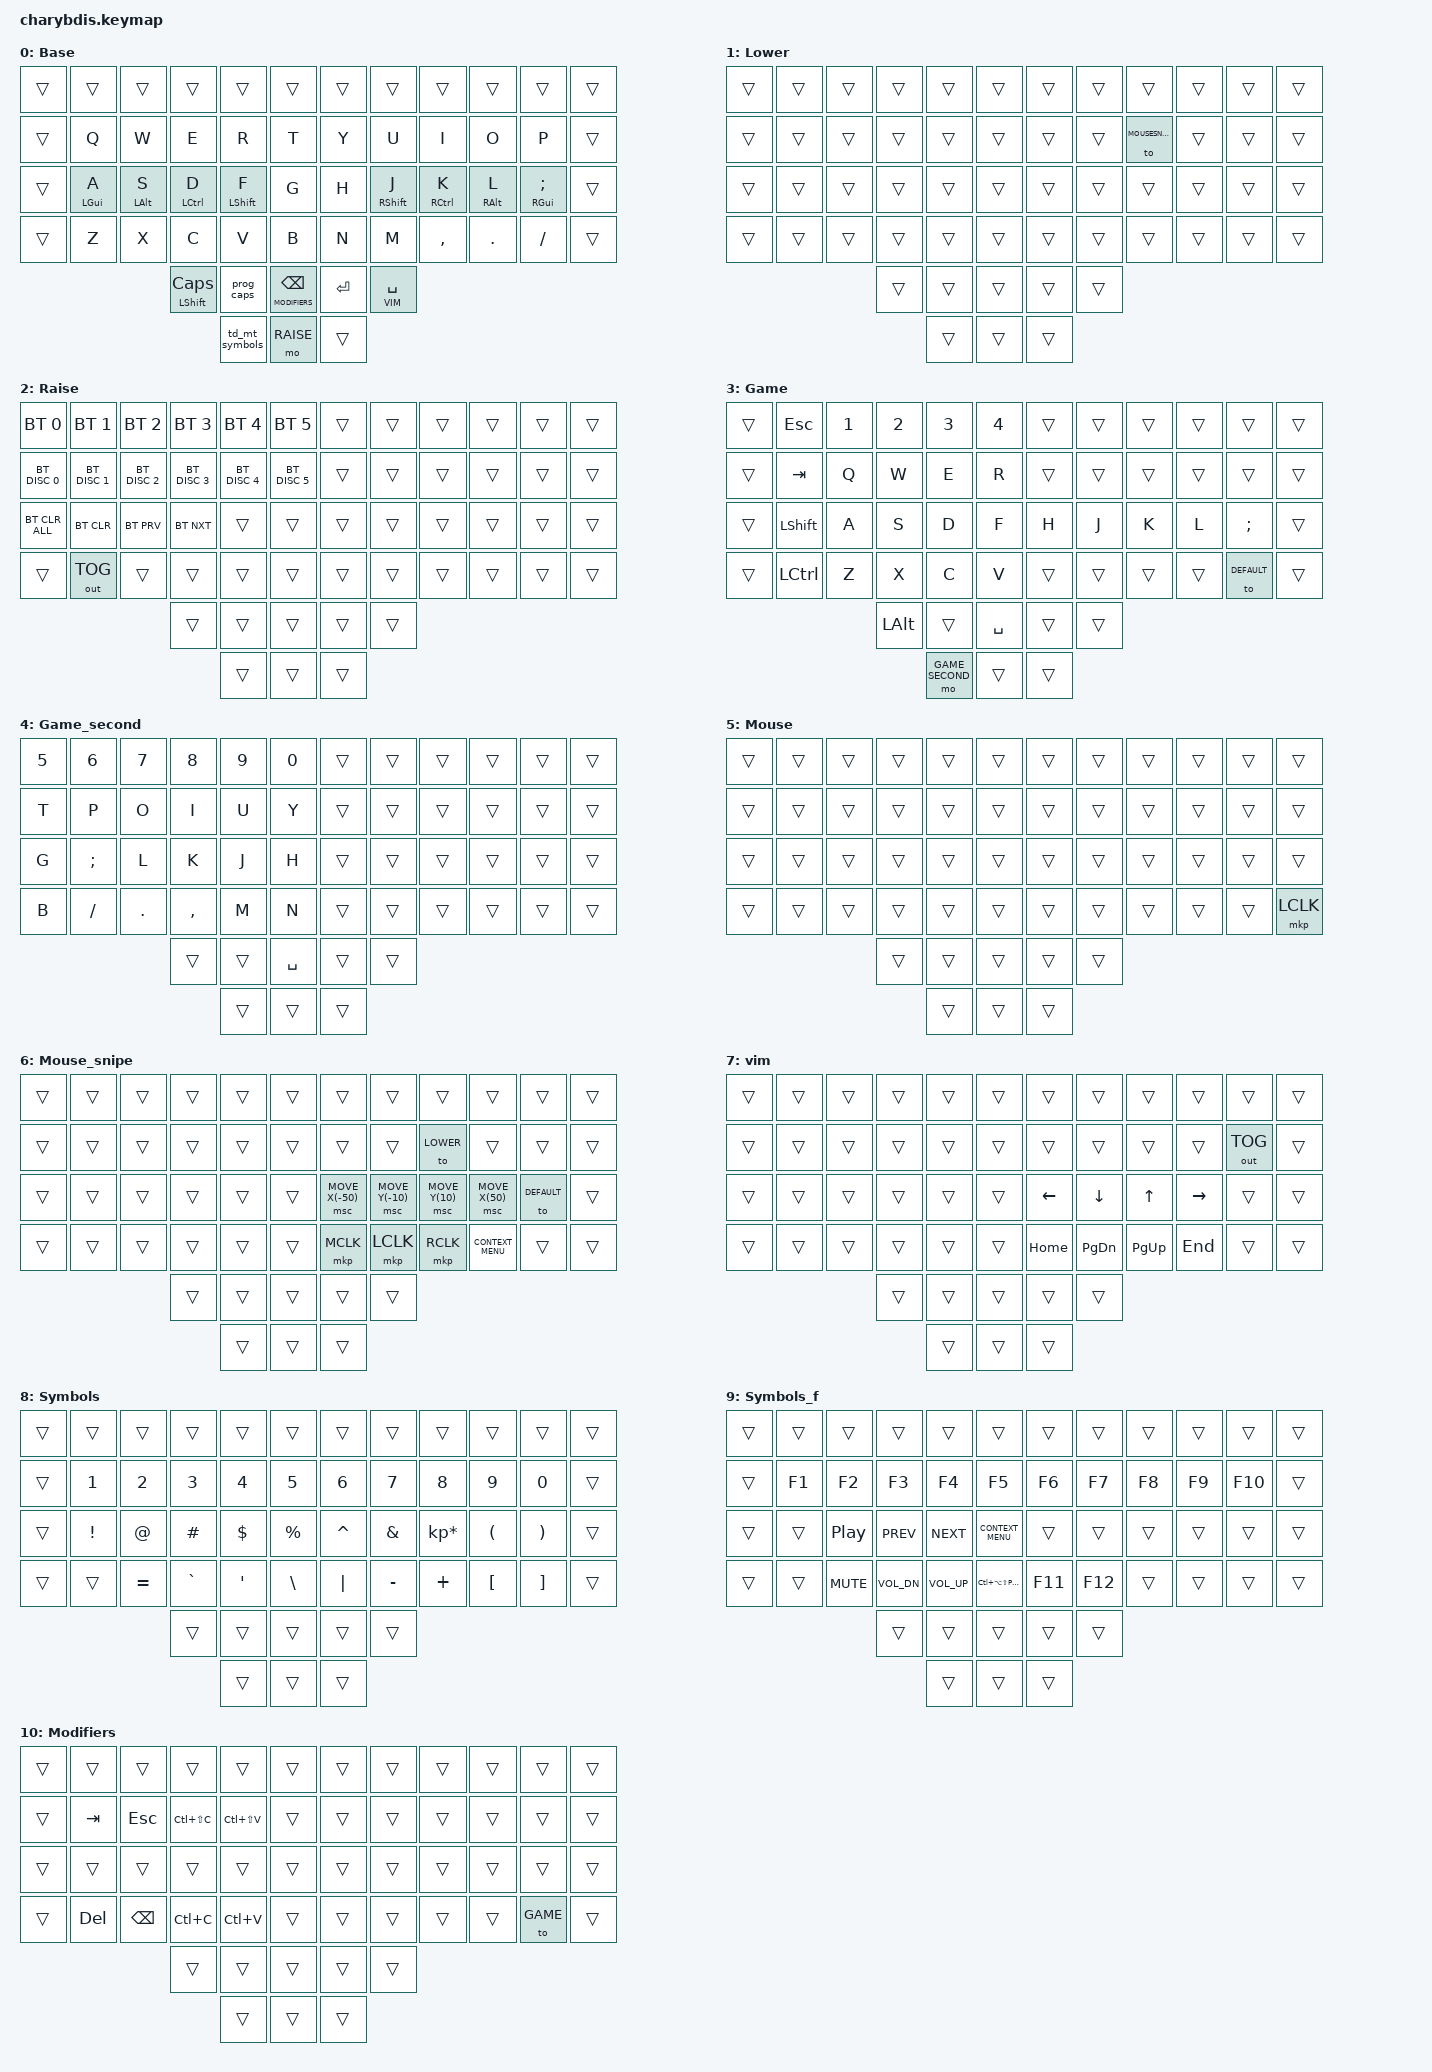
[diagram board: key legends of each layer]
#define DEFAULT 0
#define LOWER 1
#define RAISE 2
#define GAME 3
#define GAME_SECOND 4
#define MOUSE 5
#define MOUSESNIPE 6
#define VIM 7
#define SYMBOLS 8
#define SYMBOLS_F 9
#define MODIFIERS 10

#include <behaviors.dtsi>
#include <dt-bindings/zmk/keys.h>
#include <dt-bindings/zmk/bt.h>
#include <dt-bindings/zmk/ext_power.h>
#include <dt-bindings/zmk/mouse.h>
// #include <dt-bindings/zmk/pointing.h>
#include <dt-bindings/zmk/outputs.h>

/ {
    combos {
        compatible = "zmk,combos";

        ToMouseSnipeLayer {
            bindings = <&to MOUSESNIPE>;
            key-positions = <21 33>;
        };

        SwitchToRus {
            bindings = <&kp LC(LA(LS(E)))>;
            key-positions = <25 26>;
        };

        SwitchToEng {
            bindings = <&kp LC(LA(LS(R)))>;
            key-positions = <34 33>;
        };

        PrintScreenRight {
            bindings = <&kp PRINTSCREEN>;
            key-positions = <22 34>;
        };

        PrintScreenLeft {
            bindings = <&kp PRINTSCREEN>;
            key-positions = <13 25>;
        };

        bootloaderLeft {
            bindings = <&bootloader>;
            key-positions = <0 13>;
        };
        bootloaderRight {
            bindings = <&bootloader>;
            key-positions = <11 22>;
        };
        resetLeft {
            bindings = <&sys_reset>;
            key-positions = <0 12>;
        };
        resetRight {
            bindings = <&sys_reset>;
            key-positions = <11 23>;
        };
    };

    trackball_listener {
        compatible = "zmk,input-behavior-listener";
        device = <&vtrackball>;
        layers = <0 2 3 5 8>;
        evt-type = <INPUT_EV_REL>;
        x-input-code = <INPUT_REL_X>;
        y-input-code = <INPUT_REL_Y>;
        scale-multiplier = <1>;
        scale-divisor = <2>;
        bindings = <&ib_toggle_layer 5>;
    };

    trackball_snipe_listener {
        compatible = "zmk,input-behavior-listener";   
        device = <&vtrackball>;
        layers = <0 2 3 6 7 8>;
        evt-type = <INPUT_EV_REL>;
        x-input-code = <INPUT_REL_X>;
        y-input-code = <INPUT_REL_Y>;
        scale-multiplier = <1>;
        scale-divisor = <8>;
    };

    trackball_scroll_listener {
        compatible = "zmk,input-behavior-listener";
        device = <&vtrackball>;
        layers = <1>;
        evt-type = <INPUT_EV_REL>;            
        x-input-code = <INPUT_REL_MISC>;
        y-input-code = <INPUT_REL_WHEEL>;
        y-invert;
        scale-multiplier = <1>;
        scale-divisor = <6>;
        bindings = <&ib_wheel_scaler 1 16>;
    };

    ib_wheel_scaler: ib_wheel_scaler {
        compatible = "zmk,input-behavior-scaler";
        #binding-cells = <2>;
        evt-type = <INPUT_EV_REL>;
        input-code = <INPUT_REL_WHEEL>;
    };

    ib_toggle_layer: ib_toggle_layer {
        compatible = "zmk,input-behavior-tog-layer";
        #binding-cells = <1>;
        time-to-live-ms = <1500>;
    };

    behaviors {
        td: tap_dance {
            compatible = "zmk,behavior-tap-dance";
            #binding-cells = <0>;
            tapping-term-ms = <300>;
            bindings = <&kp>, <&kp>;
        };
        lt: layer_tap {
            compatible = "zmk,behavior-hold-tap";
            #binding-cells = <2>;
            flavor = "balanced";
            tapping-term-ms = <240>;
            quick-tap-ms = <150>;
            bindings = 
                <&mo>,
                <&kp>;
        };
        bhm: balanced_homerow_mods {
            compatible = "zmk,behavior-hold-tap";
            #binding-cells = <2>;
            tapping-term-ms = <200>;
            quick-tap-ms = <0>;
            flavor = "balanced";
            bindings = <&kp>, <&kp>;
        };
        hold_caps_word: hold_caps_word {
            compatible = "zmk,behavior-hold-tap";
            #binding-cells = <2>;
            flavor = "tap-preferred";
            tapping-term-ms = <200>;
            quick-tap-ms = <0>;
            bindings = <&caps_word>, <&kp>;
        };

        prog_caps: prog_caps {
            compatible = "zmk,behavior-caps-word";
            #binding-cells = <0>;
            continue-list = <UNDERSCORE>, <DOT>, <COMMA>, <APOS>, <GRAVE>, <SYMBOLS>, <SYMBOLS_F>, <LBKT>;
        };

        f_shft_caps: F_hold_SHIFT_doubletap_CAPS_WORD {
            compatible = "zmk,behavior-tap-dance";
            #binding-cells = <0>;
            tapping-term-ms = <200>;
            bindings = <&bhm LSHFT F>, <&hold_caps_word 0 F>;
        };

        mo_kp: behavior_mo_kp {
            compatible = "zmk,behavior-hold-tap";
            #binding-cells = <2>;
            flavor = "hold-preferred";
            tapping-term-ms = <200>;
            bindings = <&mo>, <&kp>;
        };
        to_kp: behavior_to_kp {
            compatible = "zmk,behavior-hold-tap";
            #binding-cells = <2>;
            flavor = "hold-preferred";
            tapping-term-ms = <200>;
            bindings = <&to>, <&kp>;
        };
        td_mt_symbols: tap_dance_mod_tap {
            compatible = "zmk,behavior-tap-dance";
            #binding-cells = <0>;
            tapping-term-ms = <300>;
            bindings = <&mo SYMBOLS>, <&mo SYMBOLS_F>;
        };
    };

    keymap {
        compatible = "zmk,keymap";

        Base {
            label = "Base";
            display-name = "Base";
            bindings = <
            // ╭─────────────┬─────────────┬─────────────┬─────────────┬─────────────┬─────────────╮   ╭─────────────┬─────────────┬─────────────┬─────────────┬─────────────┬─────────────╮
                   &trans         &trans       &trans         &trans      &trans          &trans           &trans       &trans         &trans        &trans        &trans        &trans
            // ├─────────────┼─────────────┼─────────────┼─────────────┼─────────────┼─────────────┤   ├─────────────┼─────────────┼─────────────┼─────────────┼─────────────┼─────────────┤
                   &trans       &kp Q          &kp W          &kp E         &kp R         &kp T             &kp Y         &kp U         &kp I         &kp O         &kp P        &trans
            // ├─────────────┼─────────────┼─────────────┼─────────────┼─────────────┼─────────────┤   ├─────────────┼─────────────┼─────────────┼─────────────┼─────────────┼─────────────┤
                   &trans      &bhm LGUI A   &bhm LALT S   &bhm LCTRL D  &bhm LSHIFT F    &kp G             &kp H     &bhm RSHIFT J  &bhm RCTRL K   &bhm RALT L &bhm RGUI SEMI   &trans
            // ├─────────────┼─────────────┼─────────────┼─────────────┼─────────────┼─────────────┤   ├─────────────┼─────────────┼─────────────┼─────────────┼─────────────┼─────────────┤
                   &trans      &kp Z          &kp X         &kp C         &kp V         &kp B               &kp N         &kp M       &kp COMMA      &kp DOT       &kp FSLH      &trans
            // ╰─────────────┴─────────────┼─────────────┼─────────────┼─────────────┼─────────────┤   ├─────────────┼─────────────┼─────────────┼─────────────┼─────────────┴─────────────╯
                                                      &bhm LSHFT CAPSLOCK &prog_caps   &mo_kp MODIFIERS BSPC &kp RET &mo_kp VIM SPACE
            //                                           ╰─────────────┤─────────────┤─────────────┤   ├─────────────┼─────────────╯
                                                                       &td_mt_symbols    &mo RAISE      &trans
            //                                                         ╰─────────────┴─────────────╯   ╰─────────────╯
            >;
        };

        Lower {
            label = "Lower";
            display-name = "Lower";
            bindings = <
            // ╭─────────────┬─────────────┬─────────────┬─────────────┬─────────────┬─────────────╮   ╭─────────────┬─────────────┬─────────────┬─────────────┬─────────────┬─────────────╮
                   &trans         &trans       &trans         &trans      &trans          &trans           &trans       &trans         &trans        &trans        &trans        &trans
            // ├─────────────┼─────────────┼─────────────┼─────────────┼─────────────┼─────────────┤   ├─────────────┼─────────────┼─────────────┼─────────────┼─────────────┼─────────────┤
                   &trans         &trans       &trans         &trans       &trans         &trans           &trans       &trans      &to MOUSESNIPE   &trans        &trans        &trans
            // ├─────────────┼─────────────┼─────────────┼─────────────┼─────────────┼─────────────┤   ├─────────────┼─────────────┼─────────────┼─────────────┼─────────────┼─────────────┤
                   &trans         &trans       &trans         &trans       &trans         &trans           &trans       &trans         &trans        &trans     &trans           &trans
            // ├─────────────┼─────────────┼─────────────┼─────────────┼─────────────┼─────────────┤   ├─────────────┼─────────────┼─────────────┼─────────────┼─────────────┼─────────────┤
                  &trans         &trans        &trans         &trans       &trans        &trans          &trans       &trans         &trans        &trans       &trans           &trans
            // ╰─────────────┴─────────────┼─────────────┼─────────────┼─────────────┼─────────────┤   ├─────────────┼─────────────┼─────────────┼─────────────┼─────────────┴─────────────╯
                                                              &trans       &trans        &trans            &trans        &trans    
            //                                           ╰─────────────┤─────────────┤─────────────┤   ├─────────────┼─────────────╯
                                                                           &trans        &trans            &trans
            //                                                         ╰─────────────┴─────────────╯   ╰─────────────╯
            >;
        };

        Raise {
            label = "Raise";
            display-name = "Raise";
            bindings = <
            // ╭─────────────┬─────────────┬─────────────┬─────────────┬─────────────┬─────────────╮   ╭─────────────┬─────────────┬─────────────┬─────────────┬─────────────┬─────────────╮
                &bt BT_SEL 0  &bt BT_SEL 1  &bt BT_SEL 2  &bt BT_SEL 3  &bt BT_SEL 4  &bt BT_SEL 5          &trans        &trans     &trans        &trans        &trans        &trans
            // ├─────────────┼─────────────┼─────────────┼─────────────┼─────────────┼─────────────┤   ├─────────────┼─────────────┼─────────────┼─────────────┼─────────────┼─────────────┤
                &bt BT_DISC 0 &bt BT_DISC 1 &bt BT_DISC 2 &bt BT_DISC 3 &bt BT_DISC 4 &bt BT_DISC 5         &trans        &trans      &trans        &trans        &trans        &trans
            // ├─────────────┼─────────────┼─────────────┼─────────────┼─────────────┼─────────────┤   ├─────────────┼─────────────┼─────────────┼─────────────┼─────────────┼─────────────┤
                &bt BT_CLR_ALL &bt BT_CLR    &bt BT_PRV    &bt BT_NXT       &trans        &trans           &trans         &trans      &trans       &trans         &trans        &trans
            // ├─────────────┼─────────────┼─────────────┼─────────────┼─────────────┼─────────────┤   ├─────────────┼─────────────┼─────────────┼─────────────┼─────────────┼─────────────┤
                   &trans     &out OUT_TOG     &trans        &trans         &trans       &trans           &trans          &trans      &trans        &trans        &trans        &trans
            // ╰─────────────┴─────────────┼─────────────┼─────────────┼─────────────┼─────────────┤   ├─────────────┼─────────────┼─────────────┼─────────────┼─────────────┴─────────────╯
                                                              &trans        &trans       &trans            &trans        &trans    
            //                                           ╰─────────────┤─────────────┤─────────────┤   ├─────────────┼─────────────╯
                                                                            &trans       &trans            &trans
            //                                                         ╰─────────────┴─────────────╯   ╰─────────────╯
            >;
        };

        Game {
            label = "Game";
            display-name = "Game";
            bindings = <
            // ╭─────────────┬─────────────┬─────────────┬─────────────┬─────────────┬─────────────╮   ╭─────────────┬─────────────┬─────────────┬─────────────┬─────────────┬─────────────╮
                   &trans       &kp ESC        &kp N1        &kp N2        &kp N3        &kp N4           &trans       &trans         &trans        &trans        &trans        &trans
            // ├─────────────┼─────────────┼─────────────┼─────────────┼─────────────┼─────────────┤   ├─────────────┼─────────────┼─────────────┼─────────────┼─────────────┼─────────────┤
                   &trans       &kp TAB        &kp Q         &kp W         &kp E         &kp R               &trans       &trans         &trans        &trans        &trans        &trans
            // ├─────────────┼─────────────┼─────────────┼─────────────┼─────────────┼─────────────┤   ├─────────────┼─────────────┼─────────────┼─────────────┼─────────────┼─────────────┤
                   &trans       &kp LSHIFT     &kp A         &kp S         &kp D         &kp F               &kp H        &kp J          &kp K        &kp L        &kp SEMI      &trans
            // ├─────────────┼─────────────┼─────────────┼─────────────┼─────────────┼─────────────┤   ├─────────────┼─────────────┼─────────────┼─────────────┼─────────────┼─────────────┤
                   &trans       &kp LCTRL      &kp Z         &kp X         &kp C         &kp V            &trans       &trans         &trans        &trans        &to DEFAULT      &trans
            // ╰─────────────┴─────────────┼─────────────┼─────────────┼─────────────┼─────────────┤   ├─────────────┼─────────────┼─────────────┼─────────────┼─────────────┴─────────────╯
                                                             &kp LALT        &trans      &kp SPACE            &trans        &trans    
            //                                           ╰─────────────┤─────────────┤─────────────┤   ├─────────────┼─────────────╯
                                                                        &mo GAME_SECOND  &trans          &trans
            //                                                         ╰─────────────┴─────────────╯   ╰─────────────╯
            >;
        };

        Game_second {
            label = "Game_second";
            display-name = "Game_second";
            bindings = <
            // ╭─────────────┬─────────────┬─────────────┬─────────────┬─────────────┬─────────────╮   ╭─────────────┬─────────────┬─────────────┬─────────────┬─────────────┬─────────────╮
                   &kp N5         &kp N6        &kp N7        &kp N8        &kp N9        &kp N0            &trans       &trans         &trans        &trans        &trans        &trans
            // ├─────────────┼─────────────┼─────────────┼─────────────┼─────────────┼─────────────┤   ├─────────────┼─────────────┼─────────────┼─────────────┼─────────────┼─────────────┤
                   &kp T          &kp P         &kp O         &kp I         &kp U         &kp Y             &trans       &trans         &trans        &trans        &trans        &trans
            // ├─────────────┼─────────────┼─────────────┼─────────────┼─────────────┼─────────────┼   ├─────────────┼─────────────┼─────────────┼─────────────┼─────────────┼─────────────┤
                   &kp G          &kp SEMI      &kp L         &kp K         &kp J         &kp H           &trans       &trans         &trans        &trans        &trans        &trans
            // ├─────────────┼─────────────┼─────────────┼─────────────┼─────────────┼─────────────┼   ├─────────────┼─────────────┼─────────────┼─────────────┼─────────────┼─────────────┤
                   &kp B          &kp FSLH      &kp DOT      &kp COMMA      &kp M         &kp N           &trans       &trans         &trans        &trans        &trans        &trans
            // ╰─────────────┴─────────────┼─────────────┼─────────────┼─────────────┼─────────────┤   ├─────────────┼─────────────┼─────────────┼─────────────┼─────────────┴─────────────╯
                                                             &trans        &trans      &kp SPACE            &trans        &trans    
            //                                           ╰─────────────┤─────────────┤─────────────┤   ├─────────────┼─────────────╯
                                                                           &trans        &trans          &trans
            //                                                         ╰─────────────┴─────────────╯   ╰─────────────╯
            >;
        };

        Mouse {
            display-name = "Mouse";
            bindings = <
            // ╭─────────────┬─────────────┬─────────────┬─────────────┬─────────────┬─────────────╮   ╭─────────────┬─────────────┬─────────────┬─────────────┬─────────────┬─────────────╮
                   &trans         &trans       &trans         &trans       &trans         &trans           &trans       &trans         &trans        &trans        &trans        &trans
            // ├─────────────┼─────────────┼─────────────┼─────────────┼─────────────┼─────────────┤   ├─────────────┼─────────────┼─────────────┼─────────────┼─────────────┼─────────────┤
                   &trans         &trans       &trans         &trans       &trans         &trans           &trans       &trans         &trans        &trans        &trans        &trans
            // ├─────────────┼─────────────┼─────────────┼─────────────┼─────────────┼─────────────┤   ├─────────────┼─────────────┼─────────────┼─────────────┼─────────────┼─────────────┤
                   &trans         &trans       &trans         &trans       &trans         &trans           &trans       &trans         &trans        &trans        &trans        &trans
            // ├─────────────┼─────────────┼─────────────┼─────────────┼─────────────┼─────────────┤   ├─────────────┼─────────────┼─────────────┼─────────────┼─────────────┼─────────────┤
                   &trans         &trans       &trans         &trans       &trans         &trans           &trans       &trans         &trans        &trans        &trans       &mkp LCLK
            // ╰─────────────┴─────────────┼─────────────┼─────────────┼─────────────┼─────────────┤   ├─────────────┼─────────────┼─────────────┼─────────────┼─────────────┴─────────────╯
                                                            &trans         &trans         &trans           &trans        &trans    
            //                                           ╰─────────────┤─────────────┤─────────────┤   ├─────────────┼─────────────╯
                                                                            &trans        &trans            &trans
            //                                                         ╰─────────────┴─────────────╯   ╰─────────────╯
            >;
        };

        Mouse_snipe {
            display-name = "Mouse_snipe";
            bindings = <
            // ╭─────────────┬─────────────┬─────────────┬─────────────┬─────────────┬─────────────╮   ╭─────────────┬─────────────┬─────────────┬─────────────┬─────────────┬─────────────╮
                   &trans         &trans       &trans         &trans       &trans         &trans           &trans       &trans         &trans        &trans        &trans        &trans
            // ├─────────────┼─────────────┼─────────────┼─────────────┼─────────────┼─────────────┤   ├─────────────┼─────────────┼─────────────┼─────────────┼─────────────┼─────────────┤
                   &trans         &trans       &trans         &trans       &trans         &trans           &trans       &trans        &to LOWER     &trans        &trans        &trans
            // ├─────────────┼─────────────┼─────────────┼─────────────┼─────────────┼─────────────┤   ├─────────────┼─────────────┼─────────────┼─────────────┼─────────────┼─────────────┤
                   &trans         &trans       &trans         &trans       &trans         &trans      &msc MOVE_X(-50) &msc MOVE_Y(-10) &msc MOVE_Y(10) &msc MOVE_X(50)   &to DEFAULT     &trans
            // ├─────────────┼─────────────┼─────────────┼─────────────┼─────────────┼─────────────┤   ├─────────────┼─────────────┼─────────────┼─────────────┼─────────────┼─────────────┤
                   &trans         &trans       &trans         &trans       &trans         &trans           &mkp MCLK    &mkp LCLK     &mkp RCLK  &kp K_CONTEXT_MENU     &trans       &trans
            // ╰─────────────┴─────────────┼─────────────┼─────────────┼─────────────┼─────────────┤   ├─────────────┼─────────────┼─────────────┼─────────────┼─────────────┴─────────────╯
                                                              &trans      &trans          &trans           &trans      &trans    
            //                                           ╰─────────────┤─────────────┤─────────────┤   ├─────────────┼─────────────╯
                                                                            &trans        &trans            &trans
            //                                                         ╰─────────────┴─────────────╯   ╰─────────────╯
            >;
        };

        Vim {
            display-name = "vim";
            bindings = <
            // ╭─────────────┬─────────────┬─────────────┬─────────────┬─────────────┬─────────────╮   ╭─────────────┬─────────────┬─────────────┬─────────────┬─────────────┬─────────────╮
                   &trans         &trans       &trans         &trans       &trans         &trans           &trans       &trans         &trans        &trans        &trans        &trans
            // ├─────────────┼─────────────┼─────────────┼─────────────┼─────────────┼─────────────┤   ├─────────────┼─────────────┼─────────────┼─────────────┼─────────────┼─────────────┤
                   &trans         &trans       &trans         &trans       &trans         &trans           &trans       &trans         &trans        &trans     &out OUT_TOG     &trans
            // ├─────────────┼─────────────┼─────────────┼─────────────┼─────────────┼─────────────┤   ├─────────────┼─────────────┼─────────────┼─────────────┼─────────────┼─────────────┤
                   &trans         &trans       &trans         &trans       &trans         &trans           &kp LEFT     &kp DOWN       &kp UP        &kp RIGHT     &trans        &trans
            // ├─────────────┼─────────────┼─────────────┼─────────────┼─────────────┼─────────────┤   ├─────────────┼─────────────┼─────────────┼─────────────┼─────────────┼─────────────┤
                  &trans          &trans       &trans         &trans       &trans         &trans           &kp HOME     &kp PG_DN      &kp PG_UP     &kp END       &trans        &trans
            // ╰─────────────┴─────────────┼─────────────┼─────────────┼─────────────┼─────────────┤   ├─────────────┼─────────────┼─────────────┼─────────────┼─────────────┴─────────────╯
                                                              &trans      &trans          &trans           &trans        &trans    
            //                                           ╰─────────────┤─────────────┤─────────────┤   ├─────────────┼─────────────╯
                                                                            &trans        &trans            &trans
            //                                                         ╰─────────────┴─────────────╯   ╰─────────────╯
            >;
        };
        
        Symbols {
            label = "Symbols";
            display-name = "Symbols";
            bindings = <
            // ╭─────────────┬─────────────┬─────────────┬─────────────┬─────────────┬─────────────╮   ╭─────────────┬─────────────┬─────────────┬─────────────┬─────────────┬─────────────╮
                   &trans        &trans       &trans         &trans      &trans         &trans           &trans         &trans         &trans        &trans        &trans        &trans
            // ├─────────────┼─────────────┼─────────────┼─────────────┼─────────────┼─────────────┤   ├─────────────┼─────────────┼─────────────┼─────────────┼─────────────┼─────────────┤
                   &trans        &kp N1       &kp N2        &kp N3         &kp N4       &kp N5            &kp N6        &kp N7        &kp N8        &kp N9        &kp N0        &trans
            // ├─────────────┼─────────────┼─────────────┼─────────────┼─────────────┼─────────────┤   ├─────────────┼─────────────┼─────────────┼─────────────┼─────────────┼─────────────┤
                   &trans      &kp EXCL       &kp AT       &kp HASH       &kp DLLR      &kp PRCNT         &kp CARET     &kp AMPS    &kp KP_MULTIPLY &kp LPAR      &kp RPAR      &trans      
            // ├─────────────┼─────────────┼─────────────┼─────────────┼─────────────┼─────────────┤   ├─────────────┼─────────────┼─────────────┼─────────────┼─────────────┼─────────────┤
                   &trans      &trans        &kp EQUAL     &kp GRAVE      &kp APOS      &kp BSLH           &kp PIPE     &kp MINUS      &kp PLUS      &kp LBKT      &kp RBKT      &trans
            // ╰─────────────┴─────────────┼─────────────┼─────────────┼─────────────┼─────────────┤   ├─────────────┼─────────────┼─────────────┼─────────────┼─────────────┴─────────────╯
                                                              &trans       &trans         &trans           &trans        &trans    
            //                                           ╰─────────────┤─────────────┤─────────────┤   ├─────────────┼─────────────╯
                                                                            &trans        &trans           &trans
            //                                                         ╰─────────────┴─────────────╯   ╰─────────────╯
            >;
        };

        Symbols_f {
            label = "Symbols_f";
            display-name = "Symbols_f";
            bindings = <
            // ╭─────────────┬─────────────┬─────────────┬─────────────┬─────────────┬─────────────╮   ╭─────────────┬─────────────┬─────────────┬─────────────┬─────────────┬─────────────╮
                   &trans        &trans       &trans         &trans        &trans        &trans             &trans       &trans         &trans        &trans        &trans        &trans
            // ├─────────────┼─────────────┼─────────────┼─────────────┼─────────────┼─────────────┤   ├─────────────┼─────────────┼─────────────┼─────────────┼─────────────┼─────────────┤
                   &trans        &kp F1       &kp F2        &kp F3         &kp F4       &kp F5            &kp F6        &kp F7        &kp F8        &kp F9        &kp F10        &trans
            // ├─────────────┼─────────────┼─────────────┼─────────────┼─────────────┼─────────────┤   ├─────────────┼─────────────┼─────────────┼─────────────┼─────────────┼─────────────┤
                   &trans        &trans       &kp C_PP      &kp C_PREV    &kp C_NEXT &kp K_CONTEXT_MENU       &trans         &trans       &trans        &trans      &trans           &trans      
            // ├─────────────┼─────────────┼─────────────┼─────────────┼─────────────┼─────────────┤   ├─────────────┼─────────────┼─────────────┼─────────────┼─────────────┼─────────────┤
                   &trans        &trans       &kp C_MUTE  &kp C_VOL_DN   &kp C_VOL_UP &kp LC(LA(LS(PG_DN))) &kp F11        &kp F12     &trans         &trans        &trans         &trans
            // ╰─────────────┴─────────────┼─────────────┼─────────────┼─────────────┼─────────────┤   ├─────────────┼─────────────┼─────────────┼─────────────┼─────────────┴─────────────╯
                                                              &trans       &trans         &trans           &trans        &trans    
            //                                           ╰─────────────┤─────────────┤─────────────┤   ├─────────────┼─────────────╯
                                                                            &trans        &trans           &trans
            //                                                         ╰─────────────┴─────────────╯   ╰─────────────╯
            >;
        };

        Modifiers {
            label = "Modifiers";
            display-name = "Modifiers";
            bindings = <
            // ╭─────────────┬─────────────┬─────────────┬─────────────┬─────────────┬─────────────╮   ╭─────────────┬─────────────┬─────────────┬─────────────┬─────────────┬─────────────╮
                   &trans        &trans       &trans         &trans       &trans         &trans            &trans         &trans       &trans        &trans      &trans          &trans      
            // ├─────────────┼─────────────┼─────────────┼─────────────┼─────────────┼─────────────┤   ├─────────────┼─────────────┼─────────────┼─────────────┼─────────────┼─────────────┤
                   &trans        &kp TAB      &kp ESC     &kp LC(LS(C))  &kp LC(LS(V))   &trans            &trans         &trans       &trans        &trans      &trans        &trans      
            // ├─────────────┼─────────────┼─────────────┼─────────────┼─────────────┼─────────────┤   ├─────────────┼─────────────┼─────────────┼─────────────┼─────────────┼─────────────┤
                   &trans        &trans       &trans         &trans       &trans         &trans            &trans         &trans       &trans        &trans      &trans          &trans      
            // ├─────────────┼─────────────┼─────────────┼─────────────┼─────────────┼─────────────┤   ├─────────────┼─────────────┼─────────────┼─────────────┼─────────────┼─────────────┤
                   &trans        &kp DEL      &kp BSPC         &kp LC(C)   &kp LC(V)       &trans            &trans       &trans       &trans         &trans        &to GAME        &trans      
            // ╰─────────────┴─────────────┼─────────────┼─────────────┼─────────────┼─────────────┤   ├─────────────┼─────────────┼─────────────┼─────────────┼─────────────┴─────────────╯
                                                              &trans       &trans         &trans           &trans        &trans    
            //                                           ╰─────────────┤─────────────┤─────────────┤   ├─────────────┼─────────────╯
                                                                            &trans        &trans           &trans
            //                                                         ╰─────────────┴─────────────╯   ╰─────────────╯
            >;
        };

    };
};
